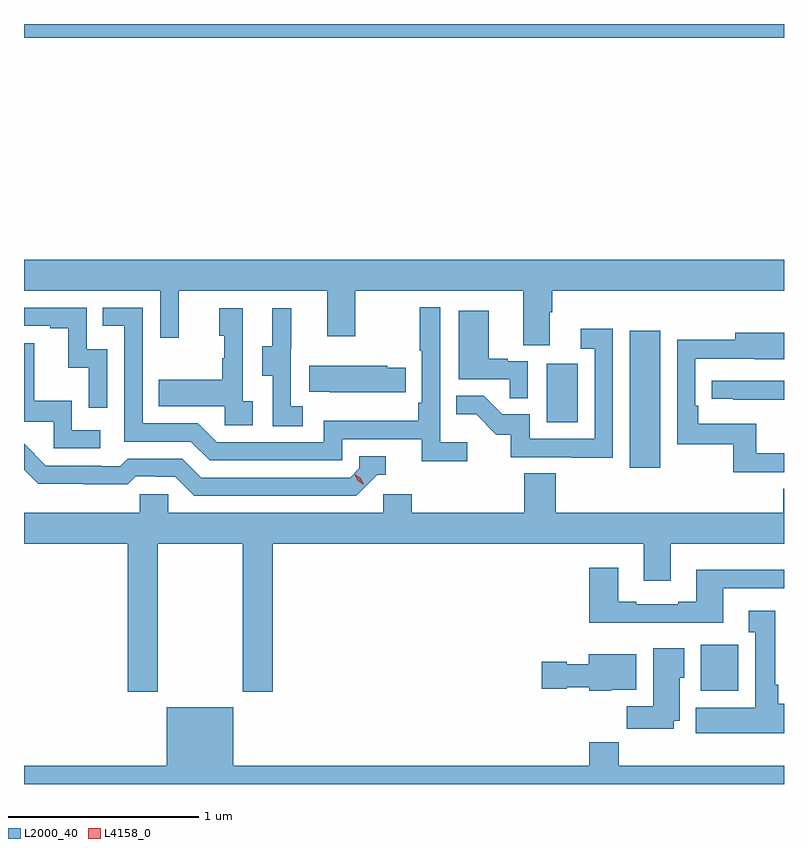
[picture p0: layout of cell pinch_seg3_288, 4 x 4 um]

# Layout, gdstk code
import gdstk
lib = gdstk.Library(unit=1e-6, precision=1e-09)
def R(c, l, rs):  # rectangles x0, y0, x1, y1
    for r in rs: c.add(gdstk.rectangle(r[:2], r[2:], *l))
def P(c, l, *ps):  # polygons
    for p in ps: c.add(gdstk.Polygon(p, *l))
L2000_40 = (2000, 40)
L4158_0 = (4158, 0)

pinch_seg3_288 = lib.new_cell('pinch_seg3_288')
R(pinch_seg3_288, L2000_40, [(948.059,726.782,948.256,727.024), (947.684,727.956,947.845,728.677), (947.246,728.196,947.41,728.503), (944.496,730.22,948.496,730.292)])
P(pinch_seg3_288, L2000_40, [(947.263,728.776),(947.276,728.776),(947.276,728.888),(948.496,728.888),(948.496,729.052),(944.496,729.052),(944.496,728.888),(945.213,728.888),(945.213,728.64),(945.311,728.64),(945.311,728.888),(946.091,728.888),(946.091,728.649),(946.239,728.649),(946.239,728.888),(947.123,728.888),(947.123,728.602),(947.263,728.602)],
  [(946.828,728.092),(946.686,728.092),(946.686,728.8),(946.578,728.8),(946.578,728.572),(946.59,728.572),(946.59,728.299),(946.57,728.299),(946.57,728.203),(946.074,728.203),(946.074,728.091),(945.51,728.091),(945.411,728.19),(945.12,728.19),(945.12,728.799),(944.911,728.799),(944.911,728.703),(945.024,728.703),(945.024,728.094),(945.374,728.094),(945.473,727.995),(946.17,727.995),(946.17,728.106),(946.589,728.106),(946.589,727.99),(946.828,727.99)],
  [(944.934,728.58),(944.826,728.58),(944.826,728.799),(944.496,728.799),(944.496,728.703),(944.633,728.703),(944.633,728.691),(944.729,728.691),(944.729,728.483),(944.838,728.483),(944.838,728.271),(944.934,728.271)],
  [(945.964,728.279),(945.9,728.279),(945.9,728.583),(945.902,728.583),(945.902,728.797),(945.803,728.797),(945.803,728.595),(945.749,728.595),(945.749,728.44),(945.804,728.44),(945.804,728.176),(945.964,728.176)],
  [(945.7,728.306),(945.648,728.306),(945.648,728.797),(945.524,728.797),(945.524,728.652),(945.55,728.652),(945.55,728.534),(945.54,728.534),(945.54,728.419),(945.205,728.419),(945.205,728.279),(945.552,728.279),(945.552,728.181),(945.7,728.181)],
  [(947.148,728.517),(947.042,728.517),(947.042,728.53),(946.942,728.53),(946.942,728.782),(946.784,728.782),(946.784,728.421),(947.053,728.421),(947.053,728.323),(947.148,728.323)],
  [(947.595,728.689),(947.427,728.689),(947.427,728.583),(947.499,728.583),(947.499,728.109),(947.157,728.109),(947.157,728.238),(947.013,728.238),(946.915,728.336),(946.771,728.336),(946.771,728.237),(946.875,728.237),(946.982,728.13),(947.059,728.13),(947.059,728.013),(947.377,728.013),(947.377,728.008),(947.595,728.008)],
  [(948.496,728.033),(948.349,728.033),(948.349,728.188),(948.044,728.188),(948.044,728.284),(948.03,728.284),(948.03,728.529),(948.343,728.529),(948.343,728.528),(948.496,728.528),(948.496,728.668),(948.239,728.668),(948.239,728.63),(947.934,728.63),(947.934,728.079),(948.228,728.079),(948.228,727.932),(948.496,727.932)],
  [(944.896,728.154),(944.748,728.154),(944.748,728.308),(944.549,728.308),(944.549,728.611),(944.496,728.611),(944.496,728.199),(944.652,728.199),(944.652,728.058),(944.896,728.058)],
  [(946.505,728.484),(946.407,728.484),(946.407,728.494),(945.997,728.494),(945.997,728.357),(946.105,728.357),(946.105,728.354),(946.505,728.354)],
  [(948.496,728.415),(948.117,728.415),(948.117,728.319),(948.229,728.319),(948.229,728.314),(948.496,728.314)],
  [(946.356,727.92),(946.399,727.92),(946.399,728.016),(946.26,728.016),(946.26,727.953),(946.212,727.905),(945.429,727.905),(945.33,728.004),(945.041,728.004),(945.002,727.965),(944.903,727.965),(944.903,727.968),(944.61,727.968),(944.496,728.082),(944.496,727.947),(944.572,727.871),(944.808,727.871),(944.808,727.869),(945.041,727.869),(945.083,727.911),(945.186,727.911),(945.186,727.908),(945.293,727.908),(945.392,727.809),(946.245,727.809)],
  [(945.201,727.556),(945.646,727.556),(945.646,726.777),(945.806,726.777),(945.806,727.556),(947.759,727.556),(947.759,727.362),(947.899,727.362),(947.899,727.556),(948.496,727.556),(948.496,727.847),(948.493,727.847),(948.493,727.72),(947.294,727.72),(947.294,727.928),(947.129,727.928),(947.129,727.72),(946.538,727.72),(946.538,727.818),(946.386,727.818),(946.386,727.72),(945.255,727.72),(945.255,727.818),(945.105,727.818),(945.105,727.72),(944.496,727.72),(944.496,727.556),(945.041,727.556),(945.041,726.777),(945.201,726.777)],
  [(948.175,727.323),(948.496,727.323),(948.496,727.42),(948.035,727.42),(948.035,727.252),(947.939,727.252),(947.939,727.239),(947.719,727.239),(947.719,727.252),(947.623,727.252),(947.623,727.429),(947.471,727.429),(947.471,727.142),(948.175,727.142)],
  [(948.496,726.714),(948.466,726.714),(948.466,726.814),(948.451,726.814),(948.451,727.204),(948.311,727.204),(948.311,727.091),(948.344,727.091),(948.344,726.694),(948.032,726.694),(948.032,726.56),(948.496,726.56)],
  [(947.917,726.626),(947.947,726.626),(947.947,726.852),(947.971,726.852),(947.971,727.006),(947.807,727.006),(947.807,726.7),(947.668,726.7),(947.668,726.582),(947.917,726.582)],
  [(947.586,726.788),(947.719,726.788),(947.719,726.976),(947.468,726.976),(947.468,726.922),(947.352,726.922),(947.352,726.935),(947.22,726.935),(947.22,726.793),(947.352,726.793),(947.352,726.8),(947.472,726.8),(947.472,726.782),(947.586,726.782)],
  [(948.496,726.388),(947.627,726.388),(947.627,726.512),(947.471,726.512),(947.471,726.388),(945.598,726.388),(945.598,726.697),(945.248,726.697),(945.248,726.388),(944.496,726.388),(944.496,726.292),(948.496,726.292)])
P(pinch_seg3_288, L4158_0, [(946.283,727.867),(946.253,727.887),(946.238,727.92),(946.238,727.921),(946.238,727.921),(946.268,727.9),(946.283,727.867),(946.283,727.867)])

lib.write_gds('pinch_seg3_288.gds')
